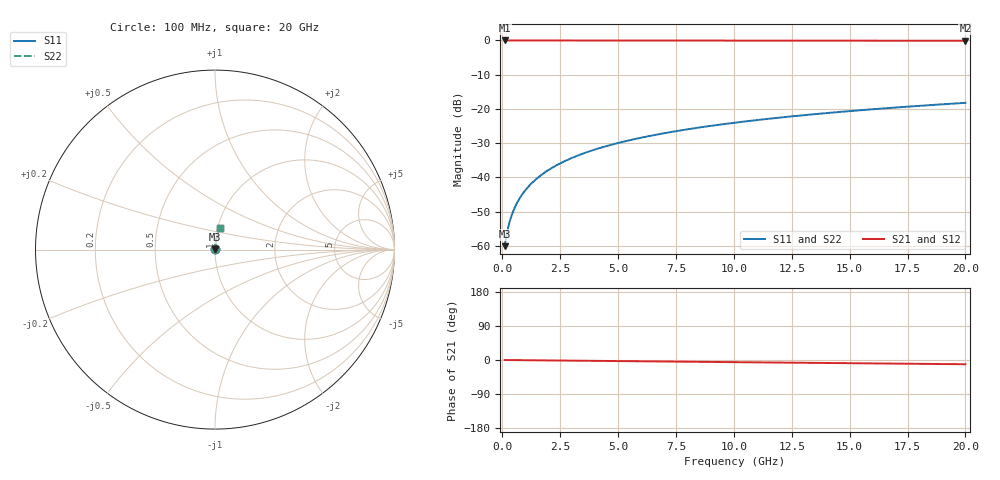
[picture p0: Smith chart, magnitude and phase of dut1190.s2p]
! Touchstone file exported from HFSS 2026.1.0
!  File:  C:/ffzhzh/LocalFiles/Ansys_Project_Files/temp_train_TMRDL_1190_1783162792_43440.aedt
!  Generated:  07:01:05 PM Jul  4, 2026
!  Design:  TMRDL
!  Project:  temp_train_TMRDL_1190_1783162792_43440
! Variables:
!  h_bsmrdl = 2um
!  h_ox = 20um
!  h_rdl = 5um
!  h_sub = 80um
!  h_tmrdl = 3.84um
!  h_tsv = 80um
!  h_via = 3um
!  l_bsmrdl = 300um
!  l_sub = 518.23um
!  l_tmrdl = 118.23um
!  m_sub = 200um
!  pitch = 49.63um
!  r_tsv = 6um
!  s_tmrdl = 10um
!  w_bsmrdl = 18um
!  w_sub = 500um
!  w_tmrdl = 21.15um
!  x_tsv_center1 = 128.805um
!  x_tsv_center2 = 446.805um
!  x_tsv_center3 = 586.185um
!  x_tsv_center4 = 904.185um
!  x_tsv_center5 = 1043.565um
!  x_tsv_center6 = 1361.565um
# GHz S MA R 50.000000
! Terminal data exported
! Port[1] = TM_RDL1_1_T1
! Port[2] = TM_RDL1_1_T2
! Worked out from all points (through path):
!   200 points, 100 MHz to 20 GHz, reference 50 ohm
!   highest |S21| = -0.01 dB at 100 MHz (marker M1); lowest = -0.1 dB at 20 GHz (marker M2)
!   group delay of S21, straight-line fit = 1.55 ps
!   lowest |S11| = -60.0 dB at 100 MHz (marker M3), VSWR 1.00, Z = 50.1 + j0.069 ohm
!   |S11| at or under -10 dB: start of sweep to end of sweep
!   |S22| runs from -60.0 to -18.2 dB; largest |S21 - S12| = 2.6e-15
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0.1  0.0009953 43.8  0.9993 -0.1  0.9993 -0.1  0.0009953 43.8
! Gamma 0 0 0 0
! Port Impedance 50 0 50 0
0.2  0.001554 61.1  0.9993 -0.1  0.9993 -0.1  0.001554 61.1
0.3  0.002163 68.7  0.9992 -0.2  0.9992 -0.2  0.002163 68.7
0.4  0.002781 72.9  0.9992 -0.2  0.9992 -0.2  0.002781 72.9
0.5  0.003403 75.6  0.9992 -0.3  0.9992 -0.3  0.003403 75.6
0.6  0.004026 77.5  0.9991 -0.4  0.9991 -0.4  0.004026 77.5
0.8  0.005281 80.0  0.9991 -0.5  0.9991 -0.5  0.005281 80.0
1.1  0.007177 82.2  0.9991 -0.6  0.9991 -0.6  0.007177 82.2
1.5  0.009718 83.6  0.999 -0.9  0.999 -0.9  0.009718 83.6
1.8  0.01163 84.2  0.999 -1.0  0.999 -1.0  0.01163 84.2
2.1  0.01354 84.6  0.9989 -1.2  0.9989 -1.2  0.01354 84.6
2.7  0.01735 85.0  0.9988 -1.6  0.9988 -1.6  0.01735 84.9
3.5  0.02243 85.0  0.9986 -2.0  0.9986 -2.0  0.02243 85.0
4.2  0.02685 84.9  0.9984 -2.4  0.9984 -2.4  0.02685 84.9
5  0.03188 84.6  0.9981 -2.9  0.9981 -2.9  0.03188 84.6
5.9  0.0375 84.3  0.9978 -3.4  0.9978 -3.4  0.0375 84.3
6.8  0.0431 83.9  0.9974 -3.9  0.9974 -3.9  0.0431 83.9
8.3  0.05237 83.2  0.9967 -4.7  0.9967 -4.7  0.05237 83.2
10.1  0.0634 82.3  0.9958 -5.7  0.9958 -5.7  0.0634 82.3
13.4  0.08344 80.7  0.994 -7.6  0.994 -7.6  0.08344 80.7
16.7  0.1033 79.0  0.9918 -9.4  0.9918 -9.4  0.1033 79.0
20  0.1229 77.3  0.9893 -11.2  0.9893 -11.2  0.1229 77.3
